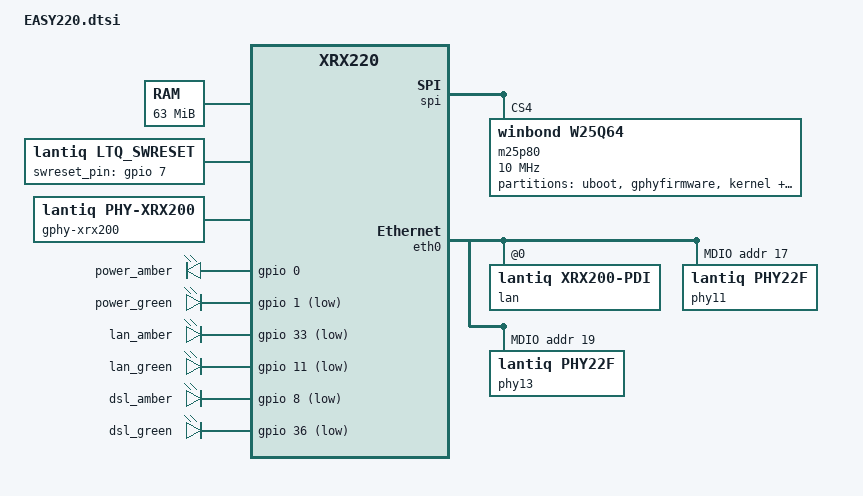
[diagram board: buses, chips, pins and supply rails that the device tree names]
#include "vr9.dtsi"
#include <dt-bindings/input/input.h>

/ {

	compatible = "lantiq,xway", "lantiq,vr9", "lantiq,xrx220";

	chosen {
		bootargs = "console=ttyLTQ0,115200";
	};

	aliases {
		led-boot = &power_g;
		led-failsafe = &power_a;
		led-running = &power_g;

		led-dsl = &dsl;
		led-internet = &lan_g;
	};

	memory@0 {
		reg = <0x0 0x3f00000>;
	};

	ltq_swreset {
		compatible = "lantiq,ltq_swreset";
		swreset_pin = <&gpio 7 GPIO_ACTIVE_HIGH>;
		swreset_bit = <1>;
		status = "ok";
	};

	gphy-xrx200 {
		compatible = "lantiq,phy-xrx200";
		firmware = "lantiq/vr9_phy22f_a2x.bin";
		phys = [ 00 01 ];
	};

//	gpio-keys-polled {
//		compatible = "gpio-keys-polled";
//		#address-cells = <1>;
//		#size-cells = <0>;
//		poll-interval = <100>;
/*		reset {
			label = "reset";
			gpios = <&gpio 7 GPIO_ACTIVE_HIGH>;
			linux,code = <0x198>;
		};*/
//	};

	gpio-leds {
		compatible = "gpio-leds";

		power_a: power_amber {
			label = "power_amber";
			gpios = <&gpio 0 GPIO_ACTIVE_HIGH>;
		};
		power_g: power_green {
			label = "power_green";
			gpios = <&gpio 1 GPIO_ACTIVE_LOW>;
		};
		lan_amber {
			label = "lan_amber";
			gpios = <&gpio 33 GPIO_ACTIVE_LOW>;
		};
		lan_g: lan_green {
			label = "lan_green";
			gpios = <&gpio 11 GPIO_ACTIVE_LOW>;
		};
		dsl_amber {
			label = "dsl_amber";
			gpios = <&gpio 8 GPIO_ACTIVE_LOW>;
		};
		dsl: dsl_green {
			label = "dsl_green";
			gpios = <&gpio 36 GPIO_ACTIVE_LOW>;
		};
	};
};

&gpio {
	pinctrl-names = "default";
	pinctrl-0 = <&state_default>;

	state_default: pinmux {
		mdio {
			lantiq,groups = "mdio";
			lantiq,function = "mdio";
		};
		phy-rst {
			lantiq,pins = "io42";
			lantiq,pull = <0>;
			lantiq,open-drain = <0>;
			lantiq,output = <1>;
		};
		exin {
			lantiq,groups = "exin3";
			lantiq,function = "exin";
		};
		/*stp {
			lantiq,groups = "stp";
			lantiq,function = "stp";
		};*/
		/*nand {
			lantiq,groups = "nand cle", "nand ale",
					"nand rd", "nand rdy";
			lantiq,function = "ebu";
		};*/
		/*pci {
			lantiq,groups = "gnt1", "req1";
			lantiq,function = "pci";
		};*/
		/*led {
			lantiq,groups = "led";
			lantiq,function = "led";
		};*/
		conf_in {
			lantiq,pins = "io39"; /* exin3 */
			lantiq,pull = <2>;
		};
		conf_out {
			lantiq,pins =  // "io21", "io38", /* pcie */
//					"io12", "io15", /* annexa, annexb */
					"io0", "io1", "io8", "io11", "io33", "io36"; /* led io34, io35 */
			lantiq,open-drain = <0>;
			lantiq,pull = <0>;
			lantiq,output = <1>;
		};
	};
	pins_spi_default: pins_spi_default {
		spi_in {
			lantiq,groups = "spi_di";
			lantiq,function = "spi";
		};
		spi_out {
			lantiq,groups = "spi_do", "spi_clk", "spi_cs4";
			lantiq,function = "spi";
			lantiq,output = <1>;
		};
	};
};

&spi {
	pinctrl-names = "default";
	pinctrl-0 = <&pins_spi_default>;

	status = "ok";

	m25p80@4 {
		#address-cells = <1>;
		#size-cells = <1>;
		compatible = "winbond,w25q64", "jedec,spi-nor";
		reg = <4 0>;
		linux,modalias = "m25p80", "w25q64";
		linux,mtd-name = "ltq_sflash";
		spi-max-frequency = <10000000>;
		m25p,fast-read;

		partitions {
			compatible = "fixed-partitions";
			#address-cells = <1>;
			#size-cells = <1>;

			partition@0 {
				reg = <0x0 0x20000>;
				label = "uboot";
				read-only;
			};

			partition@20000 {
				reg = <0x20000 0x10000>;
				label = "gphyfirmware";
				read-only;
			};

			partition@30000 {
				reg = <0x30000 0x190000>;
				label = "kernel";
				read-only;
			};

			partition@1c0000 {
				reg = <0x1c0000 0x80000>;
				label = "firmware";
				read-only;
			};

			partition@240000 {
				reg = <0x240000 0x500000>;
				label = "rootfs";
				read-only;
			};

			partition@imgalias {
				reg = <0x30000 0x710000>;
				label = "image";
				read-only;
			};

			partition@0x740000 {
				reg = <0x740000 0x10000>;
				label = "dniconfig";
				read-only;
			};

			partition@0x750000 {
				reg = <0x750000 0x10000>;
				label = "log";
				read-only;
			};

			partition@0x760000 {
				reg = <0x760000 0x80000>;
				label = "language";
				read-only;
			};

			partition@0x7e0000 {
				reg = <0x7e0000 0x10000>;
				label = "sysconfig";
				read-only;
			};

			partition@0x7f0000 {
				reg = <0x7f0000 0x2000>;
				label = "ubootconfig";
				read-only;
			};

			partition@0x7f2000 {
				reg = <0x7f2000 0x1000>;
				label = "ART";
				read-only;
			};

			partition@0x7f3000 {
				reg = <0x7f3000 0x1000>;
				label = "pot";
				read-only;
			};

			partition@0x7f4000 {
				reg = <0x7f4000 0xc000>;
				label = "ret";
				read-only;
			};
		};
	};
};

&pcie0 {
	status = "disabled";
};

&eth0 {
//	interrupts = <73 72 95 96>;

	lan: interface@0 {
		compatible = "lantiq,xrx200-pdi";
		#address-cells = <1>;
		#size-cells = <0>;
		reg = <0>;
//		reg = <2>;
		mtd-mac-address = [ 00 11 22 33 44 55 ];
//		mtd-mac-address = [ 00 11 22 33 44 57 ];
//		mtd-mac-address = <&romfile 0xf100>;
		lantiq,switch;

		ethernet@2 {
			compatible = "lantiq,xrx200-pdi-port";
			reg = <2>;
			phy-mode = "gmii";
			phy-handle = <&phy11>;
		};
		ethernet@4 {
			compatible = "lantiq,xrx200-pdi-port";
			reg = <4>;
			phynmode0 = "gmii";
			phy-handle = <&phy13>;
		};
	};

	mdio@0 {
		#address-cells = <1>;
		#size-cells = <0>;
		compatible = "lantiq,xrx200-mdio";
		phy11: ethernet-phy@11 {
			reg = <0x11>;
			compatible = "lantiq,phy22f", "ethernet-phy-ieee802.3-c22";
		};
		phy13: ethernet-phy@13 {
			reg = <0x13>;
			compatible = "lantiq,phy22f", "ethernet-phy-ieee802.3-c22";
		};
	};
};
